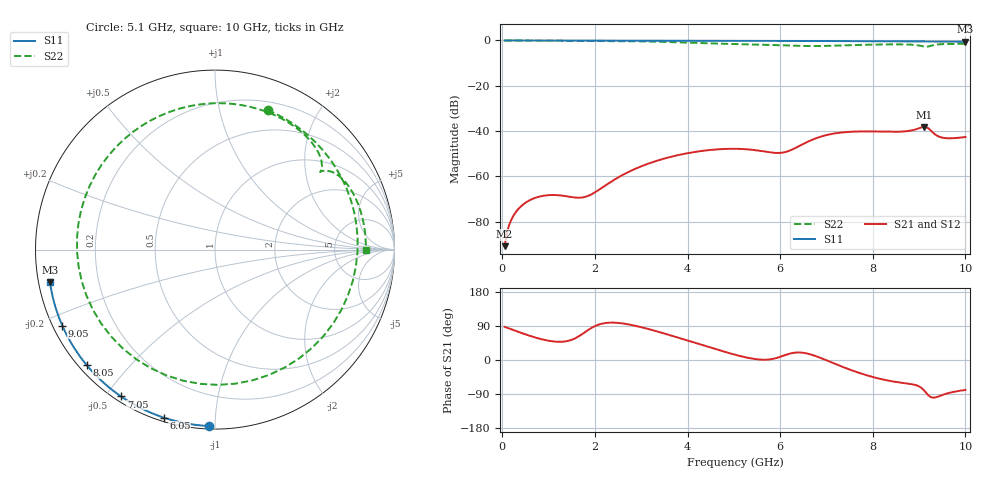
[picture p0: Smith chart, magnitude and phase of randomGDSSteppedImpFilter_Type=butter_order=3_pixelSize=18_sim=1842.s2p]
! freq	dB(S11)	phase(S11)	dB(S12)	phase(S12)
!  dB(S21)	phase(S21)	dB(S22)	phase(S22)
!S-par simulation data
#  GHz  S  DB  R 50
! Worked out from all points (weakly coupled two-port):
!   200 points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, 50 MHz to 10 GHz, reference 50 ohm
!   highest |S21| = -38.15 dB at 9.1 GHz (marker M1); lowest = -90.8 dB at 50 MHz (marker M2)
!   lowest |S11| = -0.6 dB at 10 GHz (marker M3), VSWR 30.80, Z = 1.64 - j4.86 ohm
!   |S11| at or under -10 dB: nowhere
!   |S22| runs from -2.8 to 0.0 dB; largest |S21 - S12| = 0
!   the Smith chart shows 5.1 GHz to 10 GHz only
!   S11 on the Smith chart (normalised r, x): 5.1 GHz: 0.02, -0.97; 6.05 GHz: 0.02, -0.74; 7.05 GHz: 0.02, -0.55; 8.05 GHz: 0.02, -0.38; 9.05 GHz: 0.03, -0.23; 10 GHz: 0.03, -0.10
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0.05  -0.00 -1.0  -90.82 87.7  -90.82 87.7  -0.00 -3.7
0.5  -0.01 -9.7  -71.67 67.6  -71.67 67.6  -0.05 -36.6
0.9  -0.02 -17.3  -68.52 53.3  -68.52 53.3  -0.08 -64.4
1.3  -0.03 -24.9  -68.53 48.3  -68.53 48.3  -0.12 -90.1
1.75  -0.04 -33.3  -69.24 70.4  -69.24 70.4  -0.16 -116.6
2.55  -0.06 -48.0  -59.92 97.2  -59.92 97.2  -0.28 -158.6
3.4  -0.08 -63.2  -52.72 73.4  -52.72 73.4  -0.58 160.1
4.3  -0.11 -78.6  -48.80 40.1  -48.80 40.1  -1.17 115.8
5.05  -0.14 -91.0  -47.84 13.2  -47.84 13.2  -1.59 72.7
5.1  -0.14 -91.8  -47.86 11.6  -47.86 11.6  -1.61 69.3
5.7  -0.17 -101.5  -49.15 0.8  -49.15 0.8  -1.88 20.1
6.05  -0.19 -107.0  -49.51 10.5  -49.51 10.5  -2.12 -18.9
6.4  -0.21 -112.5  -46.74 19.9  -46.74 19.9  -2.38 -66.6
6.7  -0.23 -117.2  -43.77 13.1  -43.77 13.1  -2.48 -111.2
7.05  -0.25 -122.6  -41.54 -3.3  -41.54 -3.3  -2.38 -160.2
7.45  -0.29 -128.8  -40.41 -22.9  -40.41 -22.9  -2.12 153.3
8.05  -0.34 -138.0  -40.19 -46.5  -40.19 -46.5  -1.82 100.7
8.35  -0.37 -142.6  -40.30 -54.8  -40.30 -54.8  -1.74 79.6
9.05  -0.44 -153.6  -38.40 -73.6  -38.40 -73.6  -2.43 37.9
9.1  -0.45 -154.3  -38.15 -79.2  -38.15 -79.2  -2.65 36.7
9.5  -0.50 -160.7  -42.90 -92.4  -42.90 -92.4  -1.62 22.8
10  -0.56 -168.9  -42.61 -79.0  -42.61 -79.0  -1.51 -0.3
